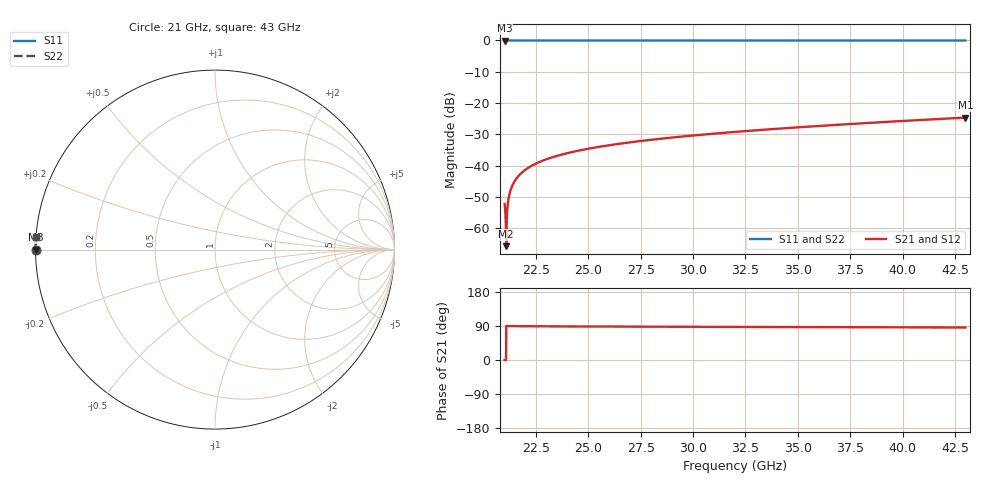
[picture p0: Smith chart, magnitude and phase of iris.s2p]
! Touchstone file exported from HFSS 2019.2.0
!  File:  C:/Users/jgarrett/Documents/Ansoft/Waveguide Cavity/WR-28-waveguide-cavity.aedt
!  Generated:  4:38:05 PM  Feb 19, 2021
!  Design:  brass-1.5mm-iris
!  Project:  WR-28-waveguide-cavity
!  Setup:  Setup1
!  Solution:  Sweep
! Variables:
!  irisD = 1.59mm
!  irisT = 5mil
!  waveguideL = 10mm
!Data is not renormalized
# GHZ S MA
! Modal data exported
! Port[1] = 1:1
! Port[2] = 2:1
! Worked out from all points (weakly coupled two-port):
!   2201 points, 21 GHz to 43 GHz, reference per port
!   highest |S21| = -24.65 dB at 43 GHz (marker M1); lowest = -65.7 dB at 21.08 GHz (marker M2)
!   lowest |S11| = 0.0 dB at 21 GHz (marker M3), VSWR 654.67
!   |S11| at or under -10 dB: nowhere
!   |S22| runs from 0.0 to 0.0 dB; largest |S21 - S12| = 2.9e-16
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21  0.9969 -180.0  0.002442 -0.3  0.002442 -0.3  0.9969 -180.0
! Gamma ! 37.6279276501448 0 37.6242998915689 0
! Port Impedance0 4406.55024868137 2.63024779541309E-13 4406.97513101808
21.04  0.9979 -180.0  0.001691 -0.3  0.001691 -0.3  0.9979 -180.0
21.08  1 180.0  0.0005169 89.7  0.0005169 89.7  1 180.0
21.12  1 179.9  0.001847 89.6  0.001847 89.6  1 179.9
21.15  0.9999 179.8  0.002404 89.5  0.002404 89.5  0.9999 179.8
21.18  1 179.8  0.002854 89.5  0.002854 89.5  1 179.8
21.21  0.9999 179.8  0.003243 89.5  0.003243 89.5  0.9999 179.8
21.24  0.9998 179.7  0.003591 89.4  0.003591 89.4  0.9998 179.7
21.3  0.9998 179.7  0.0042 89.4  0.0042 89.4  0.9998 179.7
21.37  1 179.7  0.004818 89.4  0.004818 89.4  1 179.7
21.58  1 179.6  0.006335 89.3  0.006335 89.3  1 179.6
21.89  0.9997 179.4  0.008092 89.1  0.008092 89.1  0.9997 179.4
22.35  0.9998 179.3  0.0102 89.0  0.0102 89.0  0.9998 179.3
22.95  0.9997 179.1  0.01248 88.8  0.01248 88.8  0.9997 179.1
23.72  0.9996 178.9  0.015 88.7  0.015 88.7  0.9996 178.9
24.67  0.9995 178.7  0.01774 88.5  0.01774 88.5  0.9996 178.7
26.29  0.9994 178.4  0.02191 88.2  0.02191 88.2  0.9994 178.4
28.34  0.9992 178.1  0.02667 87.9  0.02667 87.9  0.9992 178.1
32  0.9989 177.6  0.03459 87.3  0.03459 87.3  0.9989 177.6
35.67  0.9985 177.0  0.04234 86.8  0.04234 86.8  0.9985 177.0
39.34  0.9981 176.5  0.05025 86.3  0.05025 86.3  0.9982 176.5
43  0.9976 176.0  0.05854 85.7  0.05854 85.7  0.9976 176.0
